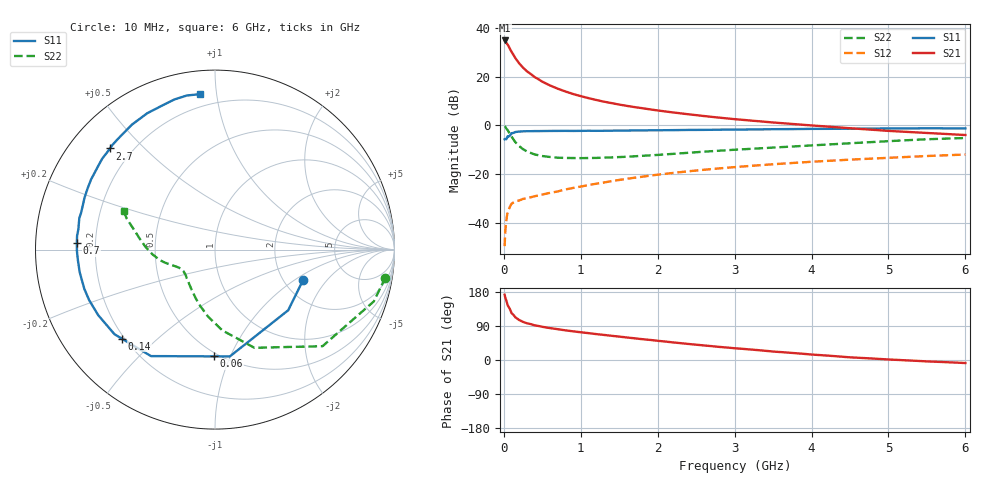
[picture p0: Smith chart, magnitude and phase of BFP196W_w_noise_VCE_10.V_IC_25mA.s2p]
! Infineon Technologies  Discrete & RF Semiconductors
! BFP196W
! VCE =  10. V,  IC =  25 mA
! Common Emitter S-Parameters:  Jan 2017
# GHz  S  MA  R  50
!  f  S11  S21  S12  S22
! GHz  MAG  ANG  MAG  ANG  MAG  ANG  MAG  ANG
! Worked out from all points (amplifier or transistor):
!   77 points, 10 MHz to 6 GHz, reference 50 ohm
!   highest |S21| = 34.9 dB at 10 MHz (marker M1)
!   |S21| within 3 dB of that: start of sweep to 71.75 MHz
!   unconditionally stable (mu >= 1): 950.5 MHz to 3.202 GHz
!   at 130 MHz: K = 0.27, MSG = 30.2 dB, |S12| = -31.6 dB
!   at 2.2 GHz: K = 1.05, MAG = 11.0 dB, |S12| = -19.5 dB
!   at 6 GHz: K = 0.90, MSG = 4.0 dB, |S12| = -12.0 dB
!   lowest NFmin = 1.07 dB at 450 MHz
!   S11 on the Smith chart (normalised r, x): 10 MHz: 2.53, -1.18; 60 MHz: 0.47, -0.87; 140 MHz: 0.19, -0.39; 700 MHz: 0.13, +0.02; 2.7 GHz: 0.12, +0.40; 6 GHz: 0.13, +0.90
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0.01  0.5191 -19.1  55.66 172.4  0.0033 77.8  0.9622 -9.3
0.02  0.5297 -39.6  53.67 164.0  0.0072 77.7  0.9306 -18.1
0.05  0.6009 -82.1  45.75 144.3  0.0168 58.1  0.8055 -41.9
0.06  0.5949 -90.5  42.75 141.2  0.0183 54.5  0.7521 -45.9
0.1  0.6923 -121.0  32.52 123.7  0.0246 44.8  0.5899 -68.1
0.14  0.7181 -136.3  25.69 115.4  0.027 39.1  0.476 -80.7
0.15  0.7321 -139.9  24.1 112.6  0.0277 37.8  0.4522 -84.8
0.2  0.7462 -150.7  18.82 105.5  0.0287 35.0  0.3747 -96.0
0.25  0.7556 -158.1  15.36 100.5  0.0309 35.6  0.3245 -104.7
0.3  0.7603 -163.3  12.94 97.0  0.0318 35.9  0.2918 -111.6
0.4  0.7643 -170.5  9.858 91.6  0.035 39.5  0.2534 -121.9
0.5  0.7661 -175.5  7.917 87.6  0.038 41.2  0.2345 -129.0
0.7  0.7705 177.4  5.682 81.3  0.044 46.6  0.2171 -138.5
0.9  0.7695 171.6  4.419 75.7  0.0519 49.7  0.2136 -143.8
1.1  0.7761 166.9  3.636 70.9  0.0593 52.7  0.2138 -147.3
1.5  0.7822 158.4  2.68 61.7  0.0757 54.7  0.2236 -153.0
2.1  0.7968 146.5  1.936 48.7  0.1014 54.4  0.2538 -160.0
2.7  0.8126 136.1  1.5 36.6  0.1266 51.7  0.2952 -166.5
3.1  0.8223 129.7  1.303 29.5  0.1429 49.4  0.3227 -171.2
4.1  0.8488 115.2  0.973 13.1  0.1826 42.5  0.3957 176.2
5.1  0.8674 104.1  0.756 0.4  0.2195 35.2  0.4832 164.2
6  0.8701 95.6  0.635 -8.0  0.2522 28.3  0.5508 157.3
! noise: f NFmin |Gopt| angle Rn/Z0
0.45  1.07  0.43  175  0.05
0.9  1.24  0.51  -179  0.06
1.9  2.11  0.68  -152  0.12
2.4  2.53  0.74  -146  0.21
